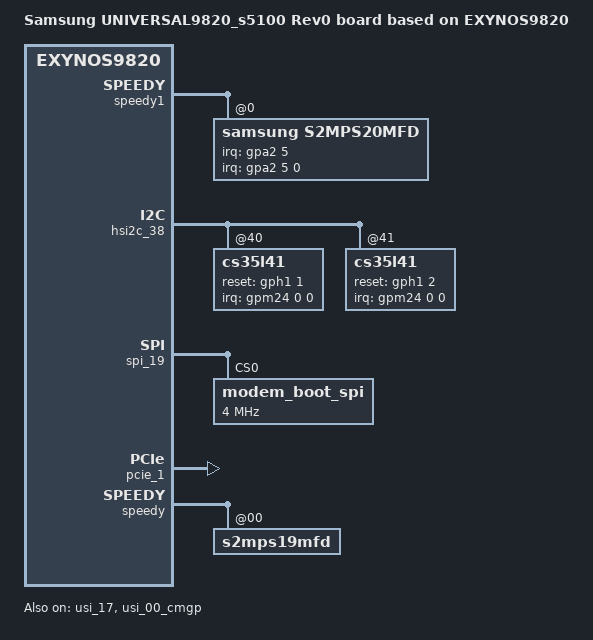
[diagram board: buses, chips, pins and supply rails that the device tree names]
/*
 * SAMSUNG EXYNOS9820 board device tree source
 *
 * Copyright (c) 2018 Samsung Electronics Co., Ltd.
 *		http://www.samsung.com
 *
 * This program is free software; you can redistribute it and/or modify
 * it under the terms of the GNU General Public License version 2 as
 * published by the Free Software Foundation.
*/

/dts-v1/;
/plugin/;

#include "modem-s5100-sipc-pdata.dtsi"
#include "exynos9820_evt0-universal9820_common.dtsi"
#include "exynos9820-rmem_s5100.dtsi"
#include "exynos9820_evt0-universal9820-camera_rev2.dtsi"

/ {
	compatible = "samsung,exynos9820", "samsung,UNIVERSAL9820_s5100";
	board_id = <0x80>;
	board_rev = <0x0>;

	fragment@model {
		target-path = "/";
		__overlay__ {
			#address-cells = <2>;
			#size-cells = <1>;

			model = "Samsung UNIVERSAL9820_s5100 Rev0 board based on EXYNOS9820";

		}; /* end of __overlay__ */
	}; /* end of fragment */
}; /* end of root */

&pinctrl_0 {
	s_pmic_irq1: s-pmic-irq1 {
		samsung,pins = "gpa2-5";
		samsung,pin-pud = <3>;
		samsung,pin-drv = <3>;
	};
};

&speedy1 {
	#address-cells = <1>;
	#size-cells = <0>;
	status = "okay";
	s2mps20mfd@00 {
		compatible = "samsung,s2mps20mfd";
		acpm-ipc-channel = <2>;
		i2c-speedy-address;
		s2mps20,wakeup = "enabled";
		s2mps20,irq-gpio = <&gpa2 5 0>;
		reg = <0x00>;
		interrupts = <5 0 0>;
		interrupt-parent = <&gpa2>;
		pinctrl-names = "default";
		pinctrl-0 = <&s_pmic_irq1>;
	};
};


&pinctrl_6 {
	cs35l41_r_reset: cs35l41-r-reset {
		samsung,pins ="gph1-1";
		samsung,pin-con-pdn =<3>;
		samsung,pin-pud-pdn = <0>;
	};
	cs35l41_l_reset: cs35l41-l-reset {
		samsung,pins ="gph1-2";
		samsung,pin-con-pdn =<3>;
		samsung,pin-pud-pdn = <0>;
	};
};

&hsi2c_38 {
	cs35l41@40 {
		pinctrl-names = "default";
		pinctrl-0 = <&cs35l41_r_reset>;
		interrupt-parent = <&gpm24>;
		interrupts = <0 0 0>;
		reset-gpios = <&gph1 1 0>;
	};

	cs35l41@41 {
		pinctrl-names = "default";
		pinctrl-0 = <&cs35l41_l_reset>;
		interrupt-parent = <&gpm24>;
		interrupts = <0 0 0>;
		reset-gpios = <&gph1 2 0>;
	};
};

&usi_17 {
	usi_v2_mode = "i2c";
	status = "okay";
};

&usi_00_cmgp {
	usi_v2_mode = "spi";
	status = "okay";
};

&spi_19 {
	#address-cells = <1>;
	#size-cells = <0>;
	status = "okay";
	pinctrl-names = "default";
	pinctrl-0 = <&spi19_bus &spi19_cs_func>;
	modem_boot_spi: modem_boot_spi@0 {
		compatible = "modem_boot_spi";
		reg = <0x0>;
		spi-max-frequency = <4000000>;
		controller-data {
			samsung,spi-feedback-delay = <0>;
			samsung,spi-chip-select-mode = <1>;
		};
	};
}; /* end of spi_19 */

&pcie_0 {
	status = "disabled";
	use-sysmmu = "false";
	use-cache-coherency = "true";
	use-msi = "false";
	ep-device-type = <EP_BCM_WIFI>;
	pcie,wlan-gpio = <&gpg1 0 0x1 /* WLAN_EN */ >;
};

&pcie_1 {
	status = "okay";
	use-sysmmu = "true";
	use-cache-coherency = "true";
	use-msi = "true";
	use-sicd = "true";
	ep-device-type = <EP_SAMSUNG_MODEM>;
	phy-power-off = "false";  /* 'true' is only for Exynos9820 SMDK board */
};

&speedy {
	s2mps19mfd@00 {
		smpl_warn_dev2= <0>;
	};
};
